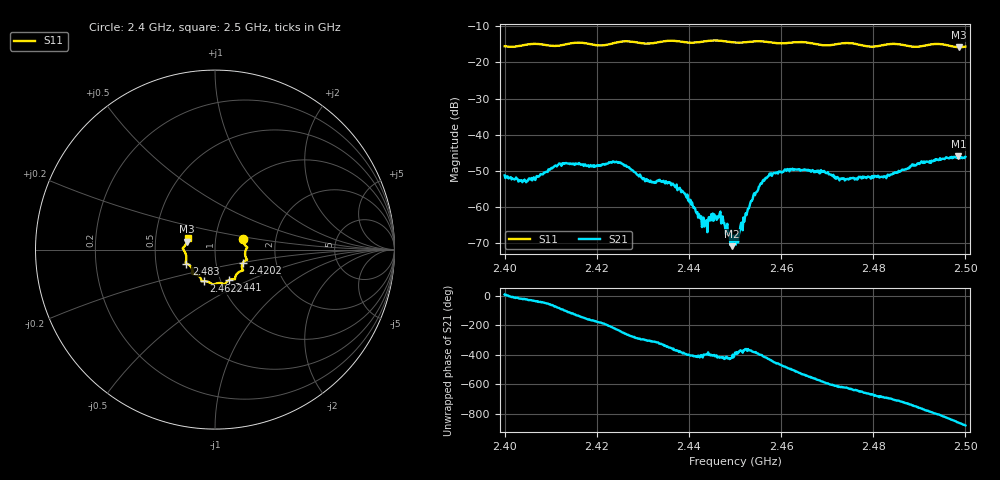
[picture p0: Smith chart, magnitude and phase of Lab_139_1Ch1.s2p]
# Hz S RI R 50
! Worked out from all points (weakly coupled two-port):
!   601 points, 2.4 GHz to 2.5 GHz, reference 50 ohm
!   highest |S21| = -45.88 dB at 2.4985 GHz (marker M1); lowest = -70.7 dB at 2.4493 GHz (marker M2)
!   lowest |S11| = -15.8 dB at 2.4987 GHz (marker M3), VSWR 1.39, Z = 36.4 + j3.29 ohm
!   |S11| at or under -10 dB: start of sweep to end of sweep
!   S12 and S22 are empty: the file has one direction only
!   S11 on the Smith chart (normalised r, x): 2.4 GHz: 1.36, +0.17; 2.4202 GHz: 1.35, -0.20; 2.441 GHz: 1.09, -0.39; 2.4622 GHz: 0.83, -0.30; 2.483 GHz: 0.72, -0.12; 2.5 GHz: 0.73, +0.09
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2.4e9  0.1561 0.0598  0.00273 0.000378  0 0  0 0
2.404333e9  0.1731 0.0183  0.00221 -0.000951  0 0  0 0
2.4115e9  0.1674 -0.0249  0.000616 -0.00376  0 0  0 0
2.416667e9  0.1775 -0.0584  -0.00319 -0.00226  0 0  0 0
2.420167e9  0.1562 -0.0719  -0.00383 -9.45e-05  0 0  0 0
2.424667e9  0.1548 -0.1112  -0.00245 0.00342  0 0  0 0
2.433333e9  0.1129 -0.1523  0.00169 0.00156  0 0  0 0
2.436833e9  0.109 -0.1655  0.00196 -0.000335  0 0  0 0
2.441e9  0.0768 -0.1706  0.000605 -0.000769  0 0  0 0
2.4435e9  0.0589 -0.1864  0.000497 -0.00042  0 0  0 0
2.446833e9  0.0493 -0.1928  0.00044 -0.000752  0 0  0 0
2.449333e9  0.0334 -0.1867  0.000138 -0.000255  0 0  0 0
2.45e9  0.0267 -0.1863  0.000362 -0.000186  0 0  0 0
2.455667e9  -0.0127 -0.1947  0.00161 -0.00143  0 0  0 0
2.462167e9  -0.0632 -0.1764  -0.00243 -0.00223  0 0  0 0
2.466667e9  -0.0766 -0.1669  -0.00304 0.000853  0 0  0 0
2.474333e9  -0.1253 -0.1359  -0.000212 0.00244  0 0  0 0
2.483e9  -0.1591 -0.0781  0.00248 0.00114  0 0  0 0
2.483333e9  -0.1607 -0.0774  0.00255 0.00104  0 0  0 0
2.4985e9  -0.1566 0.0418  -0.00397 -0.00317  0 0  0 0
2.498667e9  -0.1557 0.044  -0.00405 -0.00284  0 0  0 0
2.5e9  -0.153 0.0625  -0.0047 -0.0016  0 0  0 0
